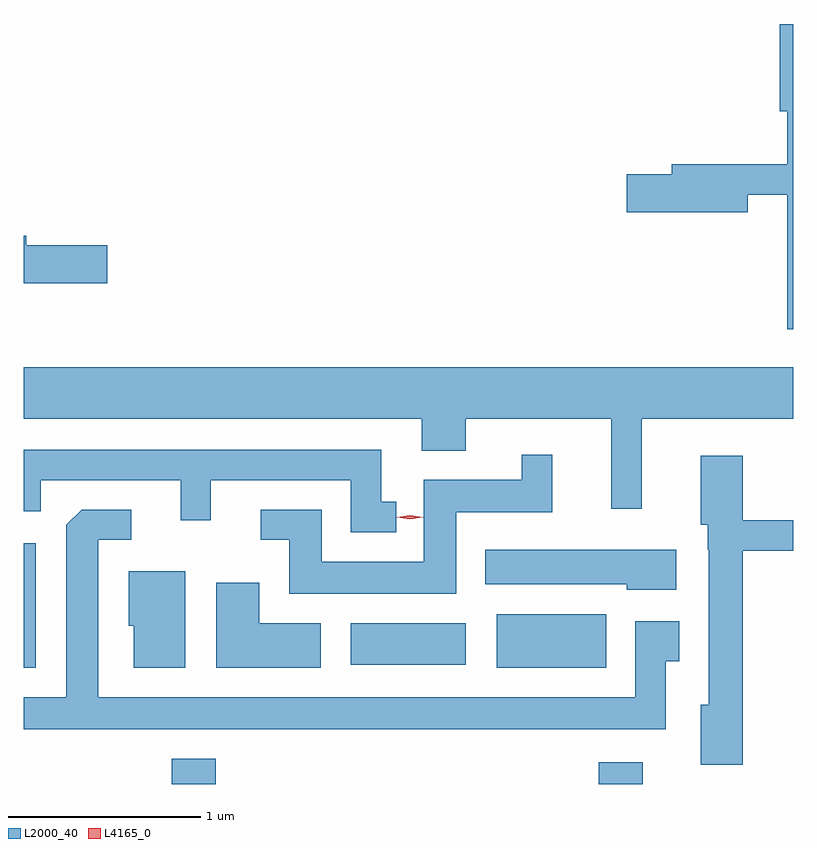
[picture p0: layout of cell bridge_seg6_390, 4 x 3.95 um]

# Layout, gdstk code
import gdstk
lib = gdstk.Library(unit=1e-6, precision=1e-09)
def R(c, l, rs):  # rectangles x0, y0, x1, y1
    for r in rs: c.add(gdstk.rectangle(r[:2], r[2:], *l))
def P(c, l, *ps):  # polygons
    for p in ps: c.add(gdstk.Polygon(p, *l))
L2000_40 = (2000, 40)
L4165_0 = (4165, 0)

bridge_seg6_390 = lib.new_cell('bridge_seg6_390')
R(bridge_seg6_390, L2000_40, [(905.171,1641.377,905.399,1641.509), (907.391,1641.377,907.619,1641.489), (904.401,1641.981,904.464,1642.629), (906.861,1641.981,907.429,1642.259), (906.101,1641.996,906.699,1642.214)])
P(bridge_seg6_390, L2000_40, [(908.401,1645.329),(908.331,1645.329),(908.331,1644.876),(908.371,1644.876),(908.371,1644.599),(907.771,1644.599),(907.771,1644.549),(907.536,1644.549),(907.536,1644.351),(908.164,1644.351),(908.164,1644.441),(908.371,1644.441),(908.371,1643.741),(908.401,1643.741)],
  [(904.834,1644.179),(904.414,1644.179),(904.414,1644.229),(904.401,1644.229),(904.401,1643.981),(904.834,1643.981)],
  [(907.614,1643.276),(908.401,1643.276),(908.401,1643.544),(904.401,1643.544),(904.401,1643.276),(906.471,1643.276),(906.471,1643.111),(906.699,1643.111),(906.699,1643.276),(907.456,1643.276),(907.456,1642.808),(907.614,1642.808)],
  [(906.338,1642.844),(906.259,1642.844),(906.259,1643.114),(904.401,1643.114),(904.401,1642.796),(904.489,1642.796),(904.489,1642.956),(905.216,1642.956),(905.216,1642.748),(905.374,1642.748),(905.374,1642.956),(906.101,1642.956),(906.101,1642.686),(906.338,1642.686)],
  [(906.649,1642.791),(907.149,1642.791),(907.149,1643.088),(906.991,1643.088),(906.991,1642.959),(906.481,1642.959),(906.481,1642.534),(905.949,1642.534),(905.949,1642.804),(905.633,1642.804),(905.633,1642.646),(905.781,1642.646),(905.781,1642.366),(906.649,1642.366)],
  [(908.139,1642.591),(908.401,1642.591),(908.401,1642.749),(908.139,1642.749),(908.139,1643.084),(907.921,1643.084),(907.921,1642.726),(907.956,1642.726),(907.956,1642.595),(907.961,1642.595),(907.961,1641.789),(907.921,1641.789),(907.921,1641.476),(908.139,1641.476)],
  [(907.739,1642.016),(907.809,1642.016),(907.809,1642.224),(907.581,1642.224),(907.581,1641.829),(904.789,1641.829),(904.789,1642.646),(904.958,1642.646),(904.958,1642.804),(904.702,1642.804),(904.621,1642.724),(904.621,1641.829),(904.401,1641.829),(904.401,1641.661),(907.739,1641.661)],
  [(907.794,1642.594),(906.801,1642.594),(906.801,1642.416),(907.536,1642.416),(907.536,1642.386),(907.794,1642.386)],
  [(905.239,1642.484),(904.946,1642.484),(904.946,1642.201),(904.971,1642.201),(904.971,1641.981),(905.239,1641.981)],
  [(905.944,1642.214),(905.624,1642.214),(905.624,1642.424),(905.401,1642.424),(905.401,1641.981),(905.944,1641.981)])
P(bridge_seg6_390, L4165_0, [(906.408,1642.755),(906.339,1642.764),(906.339,1642.765),(906.339,1642.765),(906.408,1642.775),(906.478,1642.765),(906.478,1642.764),(906.478,1642.764)])

lib.write_gds('bridge_seg6_390.gds')
